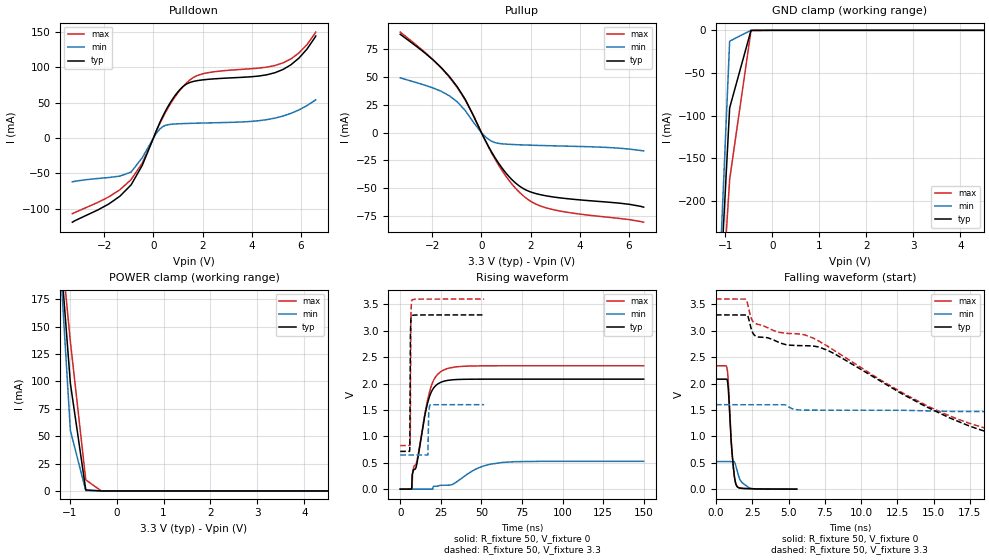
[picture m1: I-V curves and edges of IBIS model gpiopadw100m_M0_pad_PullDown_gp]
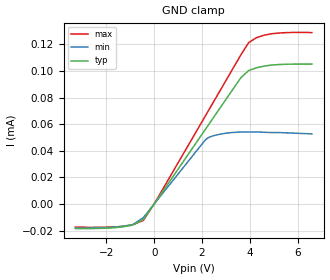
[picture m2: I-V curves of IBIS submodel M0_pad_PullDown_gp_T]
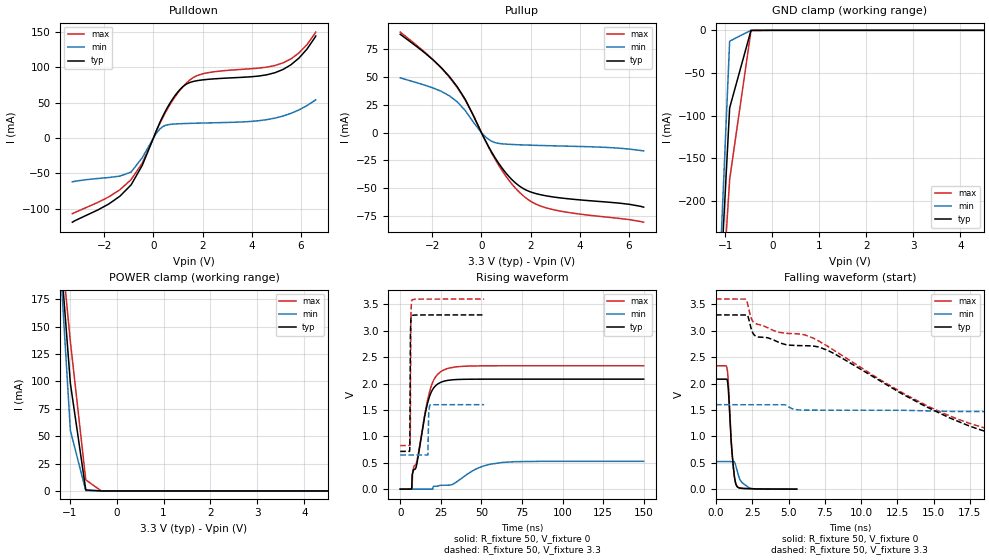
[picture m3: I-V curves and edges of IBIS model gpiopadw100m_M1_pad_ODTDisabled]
|   - ATMEL Microcontrollers -
|   IBIS model for SAM0D20_QFN48
[IBIS Ver]   4.2
[Comment char]  |_char
[File Name]   sam0d20_3m48.ibs
[File Rev]   1.0
[Date]   6-MAY-2013 16:01:59
[Source]   By GENIBIS V3.2b - GENerate chip IBIS model - 29-APR-2013
[Notes]   Property of ATMEL Corporation
[Disclaimer]
                  (C) Copyright ATMEL Nantes 2002-2013
Atmel Nantes makes no warranty for the use of its products, other than
those expressly contained in the Company's standard warranty which is detailed
in Atmel's Terms and Conditions located on the Company's web site. The Company
assumes no responsability for any errors which may appear in this document.
The user is granted this license only to use the IBIS model and is not granted
rights to sell, load, rent, lease or license the IBIS model in whole or in part,
or in modified form to anyone other than user. User may modify the IBIS model
to suit its specific applications but rights to derivative works and such
modifications shall belong to Atmel Nantes.
This IBIS model is provided on an \"AS IS\" basis and Atmel Nantes makes
absolutely no warranty with respect to the information contained herein.
[Copyright]   Copyright (c) 2002-2013 by ATMEL Nantes SA
|   COMPONENT : SAM0D20_QFN48
[Component]   SAM0D20_QFN48
[Manufacturer]  ATMEL Nantes SAS
[Package]
| Package family : QFN
| RLC file   : V1.1
| RLCEDIT tool   : V1.3-2009/04/07
| variable   typ   min   max
R_pkg   87.18m   NA   NA
L_pkg   1.12n   NA   NA
C_pkg   47.26f   NA   NA
[Pin]   signal_name   model_name   R_pin   L_pin   C_pin
|   Real model names   <--->   IBIS model names
|   gpiopadw100m33v1p66k25   gpiopadw100m
|   gpiopadw100m33v1p66k25   gpiopadw100m
|   gpiopadw100m33v1p66k25   gpiopadw100m
|  gpiopadtwifsmw100m33v1p66k25   gpiopadtwifsmw100m
|  gpiopadtwifsmw100m33v1p66k25   gpiopadtwifsmw100m
|  gpiopadtwifsmw100m33v1p66k25   gpiopadtwifsmw100m
|  gpiopadtwifsmw100m33v1p66k25   gpiopadtwifsmw100m
   1   PA00   gpiopadw100m  109.93m   1.40n   47.57f
   2   PA01   gpiopadw100m   97.67m   1.25n   46.62f
   3   PA02   gpiopadw100m   90.56m   1.16n   46.07f
   4   PA03   gpiopadw100m   86.46m   1.11n   45.75f
   5   GNDANA   GND   28.70m  385.73p   59.03f
   6   VDDANA   POWER   41.28m  542.79p   51.83f
   7   PB08   gpiopadw100m   79.85m   1.02n   45.24f
   8   PB09   gpiopadw100m   78.80m   1.01n   45.15f
   9   PA04   gpiopadw100m   82.38m   1.06n   45.43f
   10   PA05   gpiopadw100m   84.80m   1.09n   45.62f
   11   PA06   gpiopadw100m   93.74m   1.20n   46.31f
   12   PA07   gpiopadw100m  105.41m   1.34n   47.22f
   13   PA08   gpiopadtwifsmw100m  119.85m   1.52n   48.33f
   14   PA09   gpiopadtwifsmw100m  108.39m   1.38n   47.45f
   15   PA10   gpiopadw100m   97.80m   1.25n   46.63f
   16   PA11   gpiopadw100m   89.80m   1.15n   46.01f
   17   VDDIO   POWER   85.11m   1.09n   45.64f
   18   GND   GND   84.30m   1.08n   45.58f
   19   PB10   gpiopadw100m   87.47m   1.12n   45.83f
   20   PB11   gpiopadw100m   94.22m   1.20n   46.35f
   21   PA12   gpiopadtwifsmw100m   93.85m   1.20n   46.32f
   22   PA13   gpiopadtwifsmw100m  102.70m   1.31n   47.01f
   23   PA14   gpiopadw100m  111.66m   1.42n   47.70f
   24   PA15   gpiopadw100m  114.28m   1.45n   47.90f
   25   PA16   gpiopadtwifsmw100m   55.57m  721.39p   56.26f
   26   PA17   gpiopadtwifsmw100m  100.62m   1.28n   46.84f
   27   PA18   gpiopadw100m   89.86m   1.15n   46.01f
   28   PA19   gpiopadw100m   82.28m   1.05n   45.42f
   29   PA20   gpiopadw100m   85.06m   1.09n   45.64f
   30   PA21   gpiopadw100m   79.90m   1.03n   45.24f
   31   PA22   gpiopadtwifsmw100m   78.64m   1.01n   45.14f
   32   PA23   gpiopadtwifsmw100m   80.16m   1.03n   45.26f
   33   PA24   gpiopadw100m   85.60m   1.10n   45.68f
   34   PA25   gpiopadw100m   94.30m   1.21n   46.35f
   35   GND   GND   98.07m   1.25n   46.65f
   36   VDDIO   POWER  110.50m   1.41n   47.61f
   37   PB22   gpiopadw100m  106.27m   1.35n   47.28f
   38   PB23   gpiopadw100m   95.66m   1.22n   46.46f
   39   PA27   gpiopadw100m   88.65m   1.13n   45.92f
   40   RESET_N   gpiopadw100m   84.57m   1.08n   45.60f
   41   PA28   gpiopadw100m   84.78m   1.09n   45.62f
   42   GND   GND   43.79m  574.25p   52.61f
   43   VDDCORE   POWER   42.29m  555.42p   52.14f
   44   VDDIO   POWER   42.29m  555.49p   52.14f
   45   PA30   gpiopadw100m   88.00m   1.13n   45.87f
   46   PA31   gpiopadw100m   95.45m   1.22n   46.44f
   47   PB02   gpiopadw100m   95.66m   1.22n   46.46f
   48   PB03   gpiopadw100m  107.52m   1.37n   47.38f
|   MODEL SELECTOR : gpiopadtwifsmw100m
[Model Selector]   gpiopadtwifsmw100m
gpiopadtwifsmw100m_M3_pad_twi   twi mode
gpiopadtwifsmw100m_M2_pad_puodt_gpiop   pull up odt
gpiopadtwifsmw100m_M1_pad_noodt_gpiop   odt disabled
gpiopadtwifsmw100m_M0_pad_pdodt_gpiop   pull down odt
|   MODEL SELECTOR : gpiopadw100m
[Model Selector]   gpiopadw100m
gpiopadw100m_M2_pad_PullUp_gpio   Pull Up
gpiopadw100m_M1_pad_ODTDisabled   ODT Disabled
gpiopadw100m_M0_pad_PullDown_gp   Pull Down
| Models and submodels in the file (11): gpiopadw100m_M0_pad_PullDown_gp (I/O), M0_pad_PullDown_gp_T (Dynamic_clamp), gpiopadw100m_M1_pad_ODTDisabled (I/O), gpiopadw100m_M2_pad_PullUp_gpio (I/O), M2_pad_PullUp_gpio_T (Dynamic_clamp), gpiopadtwifsmw100m_M0_pad_pdodt_gpiop (I/O), M0_pad_pdodt_gpiop_T (Dynamic_clamp), gpiopadtwifsmw100m_M1_pad_noodt_gpiop (I/O), gpiopadtwifsmw100m_M2_pad_puodt_gpiop (I/O), M2_pad_puodt_gpiop_T (Dynamic_clamp), gpiopadtwifsmw100m_M3_pad_twi (I/O_open_sink)
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|   MODEL : gpiopadw100m_M0_pad_PullDown_gp
[Model] gpiopadw100m_M0_pad_PullDown_gp
Model_type I/O
Vinl  =  0.99
Vinh  =  2.31
Vmeas =  1.650
| Capacitance   typ   min   max
C_comp   1.24002p   1.23763p   1.27582p
| Variables   typ   min   max
[GND Clamp Reference]   0   0   0
[POWER Clamp Reference]   3.3   1.6   3.6
[Pulldown Reference]   0   0   0
[Pullup Reference]   3.3   1.6   3.6
[Temperature Range]   25   -40   105
[Voltage Range]   3.3   1.6   3.6
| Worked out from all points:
|   slope of the pulldown table from 0 to 0.495 V, typ, clamps not added: 12.9 ohm
|   slope of the pullup table from 0 to 0.495 V, typ, clamps not added: 24.3 ohm
|   falling waveform, R_fixture 50, V_fixture 0: 20-80 % time 299ps typ, 492ps min, 300ps max; typ from 2.08 V to 0.001 V
|   falling waveform, R_fixture 50, V_fixture 3.3: 20-80 % time 12.8ns typ, 35ns min, 12.5ns max; typ from 3.3 V to 0.715 V
|   rising waveform, R_fixture 50, V_fixture 0: 20-80 % time 7.4ns typ, 16.7ns min, 8.69ns max; typ from 0 V to 2.08 V
|   rising waveform, R_fixture 50, V_fixture 3.3: 20-80 % time 217ps typ, 319ps min, 221ps max; typ from 0.715 V to 3.3 V
[GND Clamp]
| Voltage   I(typ)   I(min)   I(max)
-3.3V     -2.634A    -3.19A     -2.302A
-1.364V   -570.8mA   -594.8mA   -573.1mA
-909.1mV  -90.85mA   -12.72mA   -174.6mA
-454.5mV  -20.67uA   -222.6nA   -356.4uA
6.6V      0A         0A         0A
[POWER Clamp]
| Voltage   I(typ)   I(min)   I(max)
-3.3V     1.751A     2.103A     1.493A
-1.309V   280.3mA    286mA      281.7mA
-981.8mV  98.06mA    55.04mA    136mA
-654.5mV  963uA      216.9uA    10.07mA
-327.3mV  1.354uA    8.417nA    98.06uA
6.6V      0A         0A         0A
[Pulldown]
| Voltage   I(typ)   I(min)   I(max)
-3.3V     -119mA     -61.98mA   -107mA
-1.818V   -93.33mA   -55.91mA   -83.28mA
-909.1mV  -66.28mA   -48.18mA   -58.8mA
-454.5mV  -38.59mA   -27.85mA   -35.52mA
309.4mV   25.56mA    14.14mA    23.9mA
773.4mV   54.8mA     19.53mA    52.8mA
1.238V    73.69mA    20.38mA    73.94mA
1.598V    79.67mA    20.77mA    84.92mA
2.062V    82.36mA    21.18mA    91.19mA
4.936V    92.21mA    28.04mA    102.4mA
5.918V    113mA      39.7mA     120.2mA
6.6V      144.1mA    54mA       149.7mA
[Pullup]
| Voltage   I(typ)   I(min)   I(max)
-3.3V     88.24mA    49.15mA    90.19mA
-1.964V   65.21mA    40.03mA    65.35mA
-981.8mV  41.15mA    27.61mA    40.42mA
-654.5mV  29.72mA    19.7mA     29.25mA
-327.3mV  15.24mA    9.418mA    15.62mA
51.56mV   -2.336mA   -1.279mA   -2.314mA
360.9mV   -15.31mA   -7.05mA    -16.02mA
1.083V    -38.48mA   -10.47mA   -41.7mA
1.805V    -51.42mA   -11.17mA   -58.57mA
2.32V     -55.33mA   -11.52mA   -65.17mA
3.042V    -58.15mA   -11.95mA   -69.75mA
6.6V      -66.94mA   -16.45mA   -80.43mA
[Ramp]
dV/dt_r   1.24997/7.40251n  0.314091/16.5147n  1.40232/8.68884n
dV/dt_f   1.55089/12.8345n  0.573997/35.0183n  1.66518/12.5246n
R_load = 50
[Falling Waveform]
R_fixture = 50
V_fixture = 0
V_fixture_min = 0
V_fixture_max = 0
| Time   V(typ)   V(min)   V(max)
0s        2.083V     523.3mV    2.337V
766.8ps   2.071V     523.3mV    2.283V
859.1ps   1.854V     523.3mV    1.98V
1.016ns   1.031V     523.3mV    1.086V
1.166ns   507.3mV    523.3mV    511.5mV
1.301ns   182.1mV    499mV      180.2mV
1.456ns   49.46mV    351.4mV    51.8mV
1.737ns   16.79mV    143.7mV    17.7mV
2.377ns   11.46mV    15.09mV    11.25mV
5.563ns   974.4uV    463.6uV    868.6uV
[Falling Waveform]
R_fixture = 50
V_fixture = 3.3
V_fixture_min = 1.6
V_fixture_max = 3.6
| Time   V(typ)   V(min)   V(max)
0s        3.3V       1.6V       3.6V
2.025ns   3.299V     1.599V     3.599V
2.467ns   3.006V     1.599V     3.213V
2.726ns   2.9V       1.599V     3.135V
7.623ns   2.639V     1.496V     2.718V
16.56ns   1.298V     1.471V     1.337V
19.86ns   995.9mV    1.47V      1.078V
23.59ns   851.1mV    1.469V     959.9mV
75.53ns   715.4mV    777.3mV    825.1mV
150ns     715mV      643.3mV    824.6mV
[Rising Waveform]
R_fixture = 50
V_fixture = 0
V_fixture_min = 0
V_fixture_max = 0
| Time   V(typ)   V(min)   V(max)
0s        2.426nV    1.414nV    231.1nV
7.015ns   1.373mV    1.414nV    231.1nV
7.273ns   249.7mV    1.414nV    1.092mV
7.688ns   306.6mV    1.414nV    339.6mV
10.15ns   466.4mV    1.414nV    517.8mV
17.83ns   1.736V     1.414nV    1.816V
21.13ns   1.938V     54.42mV    2.096V
26.11ns   2.036V     74.09mV    2.247V
63.28ns   2.083V     507.2mV    2.337V
150ns     2.083V     527.1mV    2.337V
[Rising Waveform]
R_fixture = 50
V_fixture = 3.3
V_fixture_min = 1.6
V_fixture_max = 3.6
| Time   V(typ)   V(min)   V(max)
0s        715.2mV    647.1mV    824.7mV
5.764ns   715.9mV    647.1mV    824.7mV
6.051ns   1.67V      647.1mV    842mV
6.232ns   2.824V     647.1mV    1.111V
6.51ns    3.197V     647.1mV    3.089V
7.104ns   3.28V      647.1mV    3.577V
17.01ns   3.299V     647.5mV    3.599V
17.47ns   3.299V     1.414V     3.599V
18.37ns   3.3V       1.593V     3.599V
51.69ns   3.3V       1.6V       3.6V
[Add Submodel]
| Submodel Name Mode
M0_pad_PullDown_gp_T Non-Driving
| Submodel
[Submodel]  M0_pad_PullDown_gp_T
Submodel_type Dynamic_clamp
[GND Clamp]
| Voltage   I(typ)   I(min)   I(max)
-3.3V     -18.53uA   -18.06uA   -17.4uA
-1.818V   -18.12uA   -17.64uA   -17.46uA
-909.1mV  -15.94uA   -15.68uA   -15.74uA
-454.5mV  -11.7uA    -10.25uA   -12.4uA
0V        13.22pA    6.228pA    323.5pA
2.166V    56.71uA    48.48uA    66.94uA
2.681V    70.21uA    52.14uA    82.88uA
3.627V    94.95uA    54.06uA    112.1uA
3.955V    100.3uA    54.12uA    121.3uA
4.282V    102.4uA    54.12uA    125.1uA
4.936V    104.5uA    53.64uA    128uA
6.6V      105.1uA    52.67uA    128.9uA
|   MODEL : gpiopadw100m_M1_pad_ODTDisabled
[Model] gpiopadw100m_M1_pad_ODTDisabled
Model_type I/O
Vinl  =  0.99
Vinh  =  2.31
Vmeas =  1.650
| Capacitance   typ   min   max
C_comp   1.24002p   1.23763p   1.27582p
| Variables   typ   min   max
[GND Clamp Reference]   0   0   0
[POWER Clamp Reference]   3.3   1.6   3.6
[Pulldown Reference]   0   0   0
[Pullup Reference]   3.3   1.6   3.6
[Temperature Range]   25   -40   105
[Voltage Range]   3.3   1.6   3.6
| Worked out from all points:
|   slope of the pulldown table from 0 to 0.495 V, typ, clamps not added: 12.9 ohm
|   slope of the pullup table from 0 to 0.495 V, typ, clamps not added: 24.3 ohm
|   falling waveform, R_fixture 50, V_fixture 0: 20-80 % time 299ps typ, 492ps min, 300ps max; typ from 2.08 V to 0.001 V
|   falling waveform, R_fixture 50, V_fixture 3.3: 20-80 % time 12.8ns typ, 35ns min, 12.5ns max; typ from 3.3 V to 0.715 V
|   rising waveform, R_fixture 50, V_fixture 0: 20-80 % time 7.4ns typ, 16.7ns min, 8.69ns max; typ from 0 V to 2.08 V
|   rising waveform, R_fixture 50, V_fixture 3.3: 20-80 % time 217ps typ, 319ps min, 221ps max; typ from 0.715 V to 3.3 V
[GND Clamp]
| Voltage   I(typ)   I(min)   I(max)
-3.3V     -2.634A    -3.19A     -2.302A
-1.364V   -570.8mA   -594.8mA   -573.1mA
-909.1mV  -90.85mA   -12.72mA   -174.6mA
-454.5mV  -20.67uA   -222.6nA   -356.4uA
6.6V      0A         0A         0A
[POWER Clamp]
| Voltage   I(typ)   I(min)   I(max)
-3.3V     1.751A     2.103A     1.493A
-1.309V   280.3mA    286mA      281.7mA
-981.8mV  98.06mA    55.04mA    136mA
-654.5mV  963uA      216.9uA    10.07mA
-327.3mV  1.354uA    8.417nA    98.06uA
6.6V      0A         0A         0A
[Pulldown]
| Voltage   I(typ)   I(min)   I(max)
-3.3V     -119mA     -61.98mA   -107mA
-1.818V   -93.33mA   -55.91mA   -83.28mA
-909.1mV  -66.28mA   -48.18mA   -58.8mA
-454.5mV  -38.59mA   -27.85mA   -35.52mA
309.4mV   25.56mA    14.14mA    23.9mA
773.4mV   54.8mA     19.53mA    52.8mA
1.238V    73.69mA    20.38mA    73.94mA
1.598V    79.67mA    20.77mA    84.92mA
2.062V    82.36mA    21.18mA    91.19mA
4.936V    92.21mA    28.04mA    102.4mA
5.918V    113mA      39.7mA     120.2mA
6.6V      144.1mA    54mA       149.7mA
[Pullup]
| Voltage   I(typ)   I(min)   I(max)
-3.3V     88.24mA    49.15mA    90.19mA
-1.964V   65.21mA    40.03mA    65.35mA
-981.8mV  41.15mA    27.61mA    40.42mA
-654.5mV  29.72mA    19.7mA     29.25mA
-327.3mV  15.24mA    9.418mA    15.62mA
51.56mV   -2.336mA   -1.279mA   -2.314mA
360.9mV   -15.31mA   -7.05mA    -16.02mA
1.083V    -38.48mA   -10.47mA   -41.7mA
1.805V    -51.42mA   -11.17mA   -58.57mA
2.32V     -55.33mA   -11.52mA   -65.17mA
3.042V    -58.15mA   -11.95mA   -69.75mA
6.6V      -66.94mA   -16.45mA   -80.43mA
[Ramp]
dV/dt_r   1.24997/7.40251n  0.314091/16.5147n  1.40232/8.68884n
dV/dt_f   1.55089/12.8345n  0.573997/35.0183n  1.66518/12.5246n
R_load = 50
[Falling Waveform]
R_fixture = 50
V_fixture = 0
V_fixture_min = 0
V_fixture_max = 0
| Time   V(typ)   V(min)   V(max)
0s        2.083V     523.3mV    2.337V
766.8ps   2.071V     523.3mV    2.283V
859.1ps   1.854V     523.3mV    1.98V
1.016ns   1.031V     523.3mV    1.086V
1.166ns   507.3mV    523.3mV    511.5mV
1.301ns   182.1mV    499mV      180.2mV
1.456ns   49.46mV    351.4mV    51.8mV
1.737ns   16.79mV    143.7mV    17.7mV
2.377ns   11.46mV    15.09mV    11.25mV
5.563ns   974.4uV    463.6uV    868.6uV
[Falling Waveform]
R_fixture = 50
V_fixture = 3.3
V_fixture_min = 1.6
V_fixture_max = 3.6
| Time   V(typ)   V(min)   V(max)
0s        3.3V       1.6V       3.6V
2.025ns   3.299V     1.599V     3.599V
2.467ns   3.006V     1.599V     3.213V
2.726ns   2.9V       1.599V     3.135V
7.623ns   2.639V     1.496V     2.718V
16.56ns   1.298V     1.471V     1.337V
19.86ns   995.9mV    1.47V      1.078V
23.59ns   851.1mV    1.469V     959.9mV
75.53ns   715.4mV    777.3mV    825.1mV
150ns     715mV      643.3mV    824.6mV
[Rising Waveform]
R_fixture = 50
V_fixture = 0
V_fixture_min = 0
V_fixture_max = 0
| Time   V(typ)   V(min)   V(max)
0s        2.426nV    1.414nV    231.1nV
7.015ns   1.373mV    1.414nV    231.1nV
7.273ns   249.7mV    1.414nV    1.092mV
7.688ns   306.6mV    1.414nV    339.6mV
10.15ns   466.4mV    1.414nV    517.8mV
17.83ns   1.736V     1.414nV    1.816V
21.13ns   1.938V     54.42mV    2.096V
26.11ns   2.036V     74.09mV    2.247V
63.28ns   2.083V     507.2mV    2.337V
150ns     2.083V     527.1mV    2.337V
[Rising Waveform]
R_fixture = 50
V_fixture = 3.3
V_fixture_min = 1.6
V_fixture_max = 3.6
| Time   V(typ)   V(min)   V(max)
0s        715.2mV    647.1mV    824.7mV
5.764ns   715.9mV    647.1mV    824.7mV
6.051ns   1.67V      647.1mV    842mV
6.232ns   2.824V     647.1mV    1.111V
6.51ns    3.197V     647.1mV    3.089V
7.104ns   3.28V      647.1mV    3.577V
17.01ns   3.299V     647.5mV    3.599V
17.47ns   3.299V     1.414V     3.599V
18.37ns   3.3V       1.593V     3.599V
51.69ns   3.3V       1.6V       3.6V
